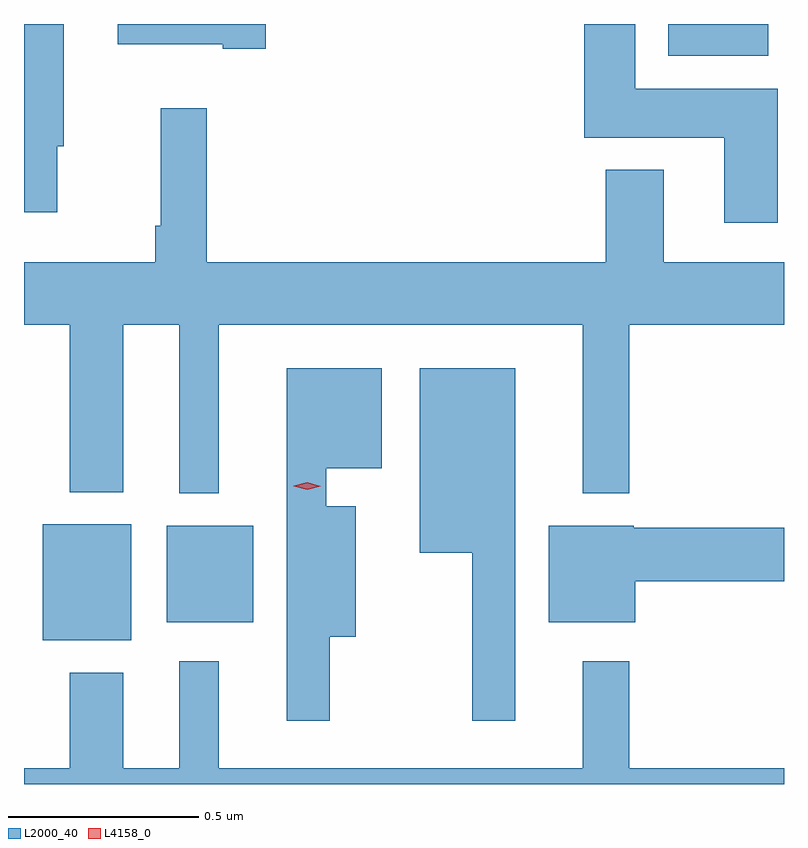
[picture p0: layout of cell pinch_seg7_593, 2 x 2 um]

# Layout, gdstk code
import gdstk
lib = gdstk.Library(unit=1e-6, precision=1e-09)
def R(c, l, rs):  # rectangles x0, y0, x1, y1
    for r in rs: c.add(gdstk.rectangle(r[:2], r[2:], *l))
def P(c, l, *ps):  # polygons
    for p in ps: c.add(gdstk.Polygon(p, *l))
L2000_40 = (2000, 40)
L4158_0 = (4158, 0)

pinch_seg7_593 = lib.new_cell('pinch_seg7_593')
R(pinch_seg7_593, L2000_40, [(132.401,1057.061,132.634,1057.366), (132.728,1057.109,132.955,1057.363), (134.048,1058.6,134.311,1058.683)])
P(pinch_seg7_593, L2000_40, [(134.335,1058.512),(133.96,1058.512),(133.96,1058.683),(133.826,1058.683),(133.826,1058.384),(134.195,1058.384),(134.195,1058.16),(134.335,1058.16)],
  [(132.439,1058.361),(132.457,1058.361),(132.457,1058.683),(132.352,1058.683),(132.352,1058.187),(132.439,1058.187)],
  [(132.988,1058.683),(132.599,1058.683),(132.599,1058.63),(132.875,1058.63),(132.875,1058.618),(132.988,1058.618)],
  [(132.833,1058.461),(132.712,1058.461),(132.712,1058.152),(132.697,1058.152),(132.697,1058.056),(132.352,1058.056),(132.352,1057.892),(132.473,1057.892),(132.473,1057.451),(132.613,1057.451),(132.613,1057.892),(132.761,1057.892),(132.761,1057.448),(132.865,1057.448),(132.865,1057.892),(133.823,1057.892),(133.823,1057.448),(133.945,1057.448),(133.945,1057.892),(134.352,1057.892),(134.352,1058.056),(134.035,1058.056),(134.035,1058.299),(133.883,1058.299),(133.883,1058.056),(132.833,1058.056)],
  [(133.645,1057.777),(133.394,1057.777),(133.394,1057.292),(133.531,1057.292),(133.531,1056.849),(133.645,1056.849)],
  [(133.157,1057.07),(133.225,1057.07),(133.225,1057.414),(133.147,1057.414),(133.147,1057.514),(133.294,1057.514),(133.294,1057.777),(133.043,1057.777),(133.043,1056.849),(133.157,1056.849)],
  [(133.96,1057.216),(134.352,1057.216),(134.352,1057.358),(133.956,1057.358),(133.956,1057.363),(133.733,1057.363),(133.733,1057.109),(133.96,1057.109)],
  [(134.352,1056.724),(133.945,1056.724),(133.945,1057.006),(133.823,1057.006),(133.823,1056.724),(132.865,1056.724),(132.865,1057.006),(132.761,1057.006),(132.761,1056.724),(132.613,1056.724),(132.613,1056.976),(132.473,1056.976),(132.473,1056.724),(132.352,1056.724),(132.352,1056.683),(134.352,1056.683)])
P(pinch_seg7_593, L4158_0, [(133.097,1057.457),(133.062,1057.467),(133.062,1057.468),(133.062,1057.468),(133.098,1057.477),(133.133,1057.467),(133.133,1057.467),(133.133,1057.467)])

lib.write_gds('pinch_seg7_593.gds')
